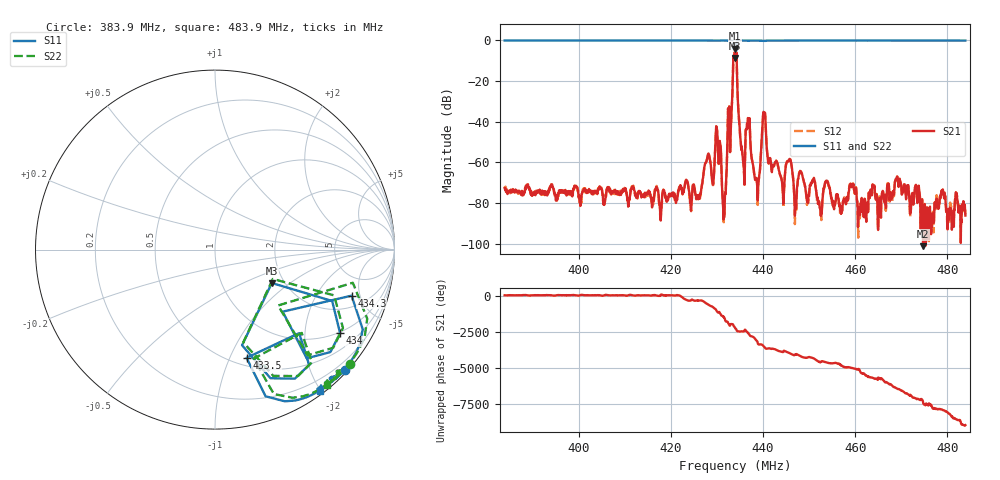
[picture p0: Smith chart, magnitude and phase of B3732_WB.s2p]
! Matrix data file written by TouchstoneData, EPCOS AG
! FILENAME: "newformat_B3732_WB.s2p"
! COMMENT: "AUF PALTINE UNANGEPASST MIT PROT EXTENSION 2"
! INFO: nport=2, nfreq=1601
! DATE: "Wed Sep 19 14:20:01 2012"
! USER: "Wilfried Schott"
! port | pin | signal
!  1  |  1  |  IN
!  2  |  4  |  OUT
# MHZ S MA R 50
! freq  magS11 angS11  magS21 angS21  magS12 angS12  magS22 angS22
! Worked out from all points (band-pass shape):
!   1601 points, 383.9 MHz to 483.9 MHz, reference 50 ohm
!   highest |S21| = -4.09 dB at 433.9 MHz (marker M1); lowest = -101.3 dB at 474.7 MHz (marker M2)
!   |S21| within 3 dB of the highest: 433.8142 MHz to 434.0025 MHz (188.3 kHz wide, 0.0434 % of centre); 434.1995 MHz to 434.2475 MHz (47.97 kHz wide, 0.011 % of centre)
!   lowest |S11| = -8.7 dB at 433.9 MHz (marker M3), VSWR 2.16, Z = 86.2 - j37.1 ohm
!   |S11| at or under -10 dB: nowhere
!   |S22| runs from -8.8 to -0.1 dB; largest |S21 - S12| = 0.0004
!   S11 on the Smith chart (normalised r, x): 383.9 MHz: 0.05, -2.54; 433.5 MHz: 0.58, -1.16; 434 MHz: 0.96, -3.02; 434.3 MHz: 2.89, -4.17; 483.9 MHz: 0.05, -1.99
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383.92  0.9868 -42.9  0.0002344 38.5  0.0002235 36.3  0.9855 -40.4
400.6075  0.9853 -44.9  0.0001527 61.3  0.0001166 61.7  0.9845 -42.3
417.295  0.9837 -46.9  0.0001665 0.9  0.0001603 -4.1  0.9825 -44.3
425.9825  0.9827 -48.3  0.0001514 39.1  0.000145 27.4  0.9817 -45.7
430.17  0.9783 -49.2  0.003037 -64.4  0.003038 -64.7  0.9771 -46.6
431.545  0.9811 -50.7  4.307e-05 -70.8  5.841e-05 -71.3  0.9801 -48.0
433.545  0.628 -73.7  0.3404 133.6  0.3404 133.6  0.6443 -70.5
433.92  0.3673 -30.5  0.6246 -59.3  0.6246 -59.3  0.3614 -26.9
434.045  0.8384 -33.8  0.3723 -118.1  0.3721 -118.2  0.8362 -31.5
434.295  0.8032 -18.6  0.302 101.0  0.3016 101.0  0.79 -13.5
435.545  0.983 -45.1  0.001561 46.7  0.001549 47.2  0.982 -42.3
436.7325  0.9692 -47.0  0.01217 -47.8  0.01216 -47.8  0.9669 -44.1
438.545  0.9725 -47.9  0.0004096 147.2  0.0004061 149.1  0.9714 -45.1
440.2325  0.9664 -47.8  0.01599 58.4  0.016 58.4  0.9654 -45.0
441.42  0.9771 -47.9  0.001176 -47.3  0.001172 -47.4  0.9764 -45.1
444.17  0.9819 -48.5  0.0002923 53.0  0.0002836 55.8  0.9807 -45.7
445.6075  0.9808 -48.9  0.001089 4.5  0.001107 5.1  0.9794 -46.1
447.045  0.9794 -49.1  8.447e-05 -139.6  9.084e-05 -138.1  0.9782 -46.3
450.6075  0.9814 -49.6  0.0003072 21.7  0.0003039 18.5  0.9799 -46.7
467.295  0.9804 -51.6  0.0002812 -2.7  0.0002953 -1.8  0.9786 -48.7
474.7325  0.9792 -52.4  8.606e-06 168.0  2.163e-05 156.8  0.978 -49.5
483.92  0.9785 -53.4  4.868e-05 5.1  5.189e-05 -29.3  0.9771 -50.4
